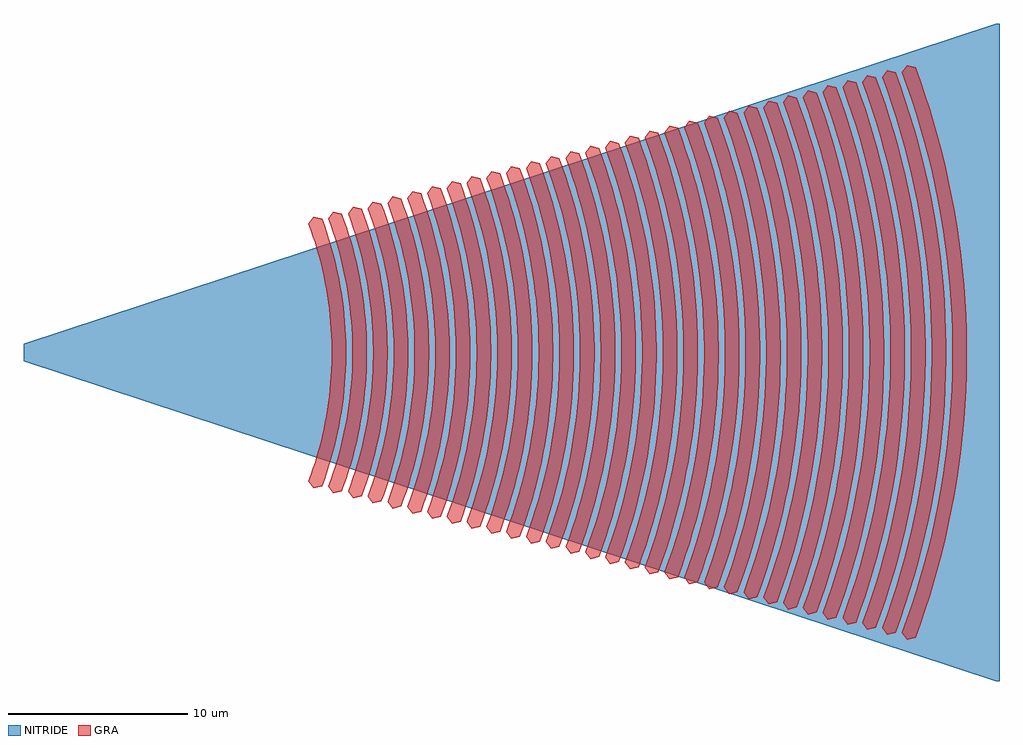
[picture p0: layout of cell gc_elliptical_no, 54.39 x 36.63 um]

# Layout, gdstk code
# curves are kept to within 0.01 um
import gdstk
lib = gdstk.Library(unit=1e-6, precision=1e-09)
def P(c, l, *ps):  # polygons
    for p in ps: c.add(gdstk.Polygon(p, *l))
GRA = (6, 0)
NITRIDE = (203, 0)

gc_elliptical_no = lib.new_cell('gc_elliptical_no')
P(gc_elliptical_no, GRA, [(28.566,-7.57),(28.277,-7.178),(28.528,-6.464),(28.854,-5.382),(29.039,-4.652),(29.195,-3.917),(29.38,-2.805),(29.469,-2.06),(29.531,-1.312),(29.572,-0.187),(29.565,0.563),(29.503,1.687),(29.428,2.433),(29.263,3.548),(29.039,4.652),(28.854,5.382),(28.528,6.464),(28.277,7.178),(28.566,7.57),(29.039,7.454),(29.417,6.345),(29.735,5.216),(29.991,4.071),(30.125,3.303),(30.232,2.529),(30.339,1.364),(30.382,0.195),(30.361,-0.975),(30.275,-2.142),(30.182,-2.917),(30.061,-3.688),(29.827,-4.836),(29.53,-5.97),(29.298,-6.718),(29.039,-7.454)],
  [(29.668,-7.852),(29.379,-7.46),(29.641,-6.717),(29.873,-5.97),(30.078,-5.214),(30.333,-4.071),(30.526,-2.916),(30.618,-2.141),(30.682,-1.364),(30.725,-0.195),(30.718,0.585),(30.653,1.753),(30.526,2.916),(30.404,3.687),(30.255,4.453),(29.979,5.593),(29.641,6.717),(29.379,7.46),(29.668,7.852),(30.141,7.736),(30.534,6.584),(30.864,5.412),(31.129,4.225),(31.328,3.026),(31.461,1.819),(31.513,1.012),(31.535,0.203),(31.513,-1.012),(31.424,-2.223),(31.269,-3.427),(31.129,-4.225),(30.96,-5.018),(30.651,-6.196),(30.409,-6.971),(30.141,-7.736)],
  [(30.772,-8.133),(30.482,-7.742),(30.877,-6.584),(31.104,-5.804),(31.303,-5.017),(31.545,-3.826),(31.723,-2.624),(31.804,-1.819),(31.855,-1.011),(31.878,-0.203),(31.871,0.607),(31.804,1.819),(31.723,2.624),(31.545,3.826),(31.303,5.017),(31.104,5.804),(30.877,6.584),(30.482,7.742),(30.772,8.133),(31.244,8.016),(31.651,6.824),(31.886,6.016),(32.091,5.201),(32.343,3.966),(32.527,2.72),(32.642,1.467),(32.688,0.209),(32.665,-1.049),(32.612,-1.885),(32.527,-2.72),(32.343,-3.966),(32.091,-5.201),(31.886,-6.016),(31.651,-6.824),(31.244,-8.016)],
  [(31.873,-8.415),(31.584,-8.023),(31.864,-7.224),(32.229,-6.015),(32.435,-5.199),(32.686,-3.965),(32.816,-3.136),(32.916,-2.302),(32.985,-1.466),(33.031,-0.209),(33.008,1.047),(32.954,1.885),(32.87,2.719),(32.686,3.965),(32.435,5.199),(32.229,6.015),(31.864,7.224),(31.584,8.023),(31.873,8.415),(32.346,8.299),(32.634,7.478),(32.893,6.647),(33.223,5.383),(33.484,4.105),(33.674,2.815),(33.793,1.518),(33.841,0.217),(33.818,-1.085),(33.722,-2.384),(33.618,-3.246),(33.484,-4.105),(33.223,-5.383),(32.893,-6.647),(32.634,-7.478),(32.346,-8.299)],
  [(32.975,-8.696),(32.686,-8.304),(32.977,-7.478),(33.353,-6.226),(33.567,-5.382),(33.827,-4.104),(33.962,-3.246),(34.065,-2.383),(34.16,-1.084),(34.184,-0.217),(34.176,0.651),(34.104,1.951),(33.962,3.246),(33.827,4.104),(33.567,5.382),(33.353,6.226),(32.977,7.478),(32.686,8.304),(32.975,8.696),(33.448,8.58),(33.884,7.303),(34.135,6.438),(34.355,5.566),(34.625,4.244),(34.821,2.911),(34.944,1.57),(34.994,0.225),(34.97,-1.122),(34.871,-2.465),(34.764,-3.356),(34.625,-4.244),(34.355,-5.566),(34.135,-6.438),(33.884,-7.303),(33.448,-8.58)],
  [(34.077,-8.977),(33.788,-8.585),(34.089,-7.731),(34.478,-6.437),(34.698,-5.564),(34.968,-4.243),(35.107,-3.356),(35.214,-2.465),(35.288,-1.569),(35.337,-0.224),(35.329,0.673),(35.254,2.017),(35.165,2.91),(34.968,4.243),(34.698,5.564),(34.478,6.437),(34.089,7.731),(33.788,8.585),(34.077,8.977),(34.55,8.861),(35,7.542),(35.26,6.649),(35.488,5.748),(35.766,4.383),(35.969,3.006),(36.096,1.621),(36.147,0.232),(36.122,-1.159),(36.02,-2.545),(35.842,-3.926),(35.682,-4.84),(35.488,-5.748),(35.26,-6.649),(35,-7.542),(34.55,-8.861)],
  [(35.18,-9.259),(34.891,-8.867),(35.2,-7.985),(35.477,-7.096),(35.721,-6.198),(36.025,-4.838),(36.253,-3.466),(36.363,-2.545),(36.439,-1.621),(36.49,-0.231),(36.464,1.159),(36.405,2.084),(36.253,3.466),(36.109,4.382),(35.83,5.748),(35.603,6.648),(35.343,7.542),(34.891,8.867),(35.18,9.259),(35.653,9.143),(36.117,7.782),(36.385,6.86),(36.62,5.93),(36.907,4.522),(37.116,3.102),(37.247,1.673),(37.3,0.239),(37.274,-1.195),(37.169,-2.627),(37.055,-3.576),(36.907,-4.522),(36.62,-5.93),(36.385,-6.86),(36.117,-7.782),(35.653,-9.143)],
  [(36.282,-9.54),(35.993,-9.148),(36.459,-7.781),(36.728,-6.859),(36.963,-5.929),(37.162,-4.993),(37.398,-3.576),(37.512,-2.625),(37.591,-1.672),(37.643,-0.239),(37.634,0.717),(37.555,2.15),(37.398,3.576),(37.249,4.521),(36.963,5.929),(36.728,6.859),(36.459,7.781),(35.993,9.148),(36.282,9.54),(36.755,9.424),(37.082,8.492),(37.376,7.547),(37.751,6.113),(38.047,4.661),(38.263,3.197),(38.399,1.724),(38.453,0.247),(38.426,-1.231),(38.318,-2.707),(38.128,-4.175),(37.859,-5.631),(37.635,-6.593),(37.376,-7.547),(37.082,-8.492),(36.755,-9.424)],
  [(37.384,-9.822),(37.095,-9.43),(37.576,-8.019),(37.853,-7.07),(38.202,-5.63),(38.39,-4.661),(38.544,-3.685),(38.66,-2.707),(38.742,-1.724),(38.796,-0.246),(38.787,0.739),(38.705,2.215),(38.607,3.197),(38.39,4.661),(38.202,5.63),(37.853,7.07),(37.576,8.019),(37.095,9.43),(37.384,9.822),(37.857,9.706),(38.194,8.746),(38.497,7.773),(38.884,6.296),(39.188,4.801),(39.411,3.293),(39.55,1.776),(39.606,0.254),(39.578,-1.269),(39.466,-2.787),(39.411,-3.293),(39.271,-4.3),(38.994,-5.798),(38.764,-6.79),(38.497,-7.773),(38.194,-8.746),(37.857,-9.706)],
  [(38.486,-10.103),(38.197,-9.711),(38.692,-8.26),(38.977,-7.281),(39.227,-6.294),(39.531,-4.8),(39.689,-3.796),(39.856,-2.282),(39.921,-1.269),(39.949,-0.253),(39.921,1.269),(39.856,2.282),(39.689,3.796),(39.531,4.8),(39.227,6.294),(38.977,7.281),(38.692,8.26),(38.197,9.711),(38.486,10.103),(38.959,9.987),(39.466,8.5),(39.759,7.493),(40.015,6.478),(40.329,4.94),(40.558,3.388),(40.664,2.348),(40.701,1.827),(40.731,1.305),(40.759,0.261),(40.731,-1.305),(40.664,-2.348),(40.615,-2.869),(40.415,-4.424),(40.129,-5.966),(39.892,-6.987),(39.617,-7.998),(39.306,-8.999),(38.959,-9.987)],
  [(39.589,-10.384),(39.3,-9.992),(39.48,-9.496),(39.809,-8.499),(40.102,-7.493),(40.358,-6.478),(40.672,-4.939),(40.901,-3.387),(41.006,-2.347),(41.073,-1.306),(41.102,-0.261),(41.073,1.306),(41.006,2.347),(40.901,3.387),(40.672,4.939),(40.358,6.478),(40.102,7.493),(39.809,8.499),(39.48,9.496),(39.3,9.992),(39.589,10.384),(40.062,10.268),(40.583,8.739),(40.884,7.705),(41.148,6.66),(41.373,5.608),(41.47,5.079),(41.705,3.483),(41.814,2.415),(41.853,1.879),(41.883,1.342),(41.912,0.269),(41.883,-1.342),(41.814,-2.415),(41.764,-2.95),(41.558,-4.549),(41.373,-5.608),(41.264,-6.135),(41.021,-7.184),(40.738,-8.223),(40.418,-9.253),(40.062,-10.268)],
  [(40.691,-10.666),(40.402,-10.274),(40.926,-8.739),(41.227,-7.704),(41.491,-6.659),(41.813,-5.078),(41.98,-4.015),(42.107,-2.949),(42.196,-1.878),(42.255,-0.268),(42.245,0.805),(42.196,1.878),(42.156,2.414),(42.049,3.483),(41.813,5.078),(41.491,6.659),(41.227,7.704),(40.926,8.739),(40.402,10.274),(40.691,10.666),(41.164,10.55),(41.7,8.979),(42.009,7.916),(42.279,6.843),(42.511,5.761),(42.611,5.218),(42.853,3.579),(42.964,2.48),(43.004,1.93),(43.035,1.38),(43.065,0.276),(43.035,-1.38),(42.964,-2.48),(42.913,-3.031),(42.853,-3.579),(42.701,-4.673),(42.511,-5.761),(42.4,-6.303),(42.149,-7.38),(41.859,-8.448),(41.529,-9.506),(41.164,-10.55)],
  [(41.793,-10.947),(41.504,-10.555),(41.873,-9.506),(42.202,-8.448),(42.352,-7.915),(42.623,-6.841),(42.954,-5.217),(43.125,-4.126),(43.256,-3.029),(43.347,-1.93),(43.408,-0.276),(43.397,0.828),(43.347,1.93),(43.256,3.029),(43.125,4.126),(43.045,4.672),(42.853,5.761),(42.623,6.841),(42.492,7.379),(42.352,7.915),(42.042,8.978),(41.694,10.031),(41.504,10.555),(41.793,10.947),(42.266,10.831),(42.643,9.76),(42.98,8.674),(43.278,7.577),(43.411,7.025),(43.649,5.915),(43.752,5.357),(43.845,4.798),(44,3.674),(44.114,2.546),(44.155,1.982),(44.187,1.415),(44.218,0.284),(44.218,-0.284),(44.187,-1.415),(44.114,-2.546),(44.062,-3.111),(44,-3.674),(43.845,-4.798),(43.649,-5.915),(43.535,-6.472),(43.278,-7.577),(42.98,-8.674),(42.643,-9.76),(42.266,-10.831)],
  [(42.895,-11.229),(42.606,-10.837),(42.986,-9.758),(43.323,-8.673),(43.477,-8.126),(43.755,-7.024),(44.095,-5.356),(44.271,-4.236),(44.343,-3.674),(44.457,-2.545),(44.529,-1.416),(44.561,-0.283),(44.55,0.85),(44.499,1.981),(44.405,3.11),(44.271,4.236),(44.095,5.356),(43.991,5.914),(43.755,7.024),(43.62,7.576),(43.477,8.126),(43.159,9.218),(42.986,9.758),(42.606,10.837),(42.895,11.229),(43.368,11.113),(43.754,10.014),(43.933,9.458),(44.259,8.338),(44.543,7.208),(44.787,6.068),(44.893,5.496),(45.073,4.346),(45.147,3.77),(45.265,2.613),(45.307,2.033),(45.339,1.452),(45.371,0.291),(45.371,-0.291),(45.339,-1.452),(45.265,-2.613),(45.211,-3.192),(45.073,-4.346),(44.988,-4.923),(44.893,-5.496),(44.67,-6.64),(44.406,-7.774),(44.101,-8.899),(43.754,-10.014),(43.368,-11.113)],
  [(43.998,-11.51),(43.709,-11.118),(44.097,-10.013),(44.444,-8.898),(44.601,-8.337),(44.749,-7.773),(45.013,-6.638),(45.236,-5.495),(45.416,-4.346),(45.554,-3.191),(45.65,-2.033),(45.703,-0.872),(45.714,-0.29),(45.703,0.872),(45.65,2.033),(45.554,3.191),(45.416,4.346),(45.236,5.495),(45.129,6.067),(45.013,6.638),(44.749,7.773),(44.444,8.898),(44.275,9.457),(43.909,10.566),(43.709,11.118),(43.998,11.51),(44.471,11.394),(44.867,10.267),(45.222,9.124),(45.535,7.971),(45.676,7.39),(45.925,6.223),(46.034,5.635),(46.218,4.456),(46.294,3.865),(46.415,2.679),(46.458,2.085),(46.491,1.49),(46.524,0.298),(46.524,-0.298),(46.491,-1.49),(46.415,-2.679),(46.36,-3.273),(46.218,-4.456),(46.131,-5.047),(46.034,-5.635),(45.805,-6.808),(45.535,-7.971),(45.222,-9.124),(44.867,-10.267),(44.471,-11.394)],
  [(45.1,-11.791),(44.811,-11.399),(45.016,-10.833),(45.392,-9.696),(45.726,-8.548),(46.019,-7.389),(46.149,-6.807),(46.376,-5.635),(46.562,-4.455),(46.703,-3.272),(46.801,-2.084),(46.856,-0.894),(46.867,-0.298),(46.856,0.894),(46.801,2.084),(46.703,3.272),(46.562,4.455),(46.376,5.635),(46.267,6.222),(46.149,6.807),(45.877,7.97),(45.726,8.548),(45.392,9.696),(45.016,10.833),(44.811,11.399),(45.1,11.791),(45.573,11.675),(45.979,10.52),(46.166,9.936),(46.508,8.76),(46.807,7.573),(46.941,6.975),(47.174,5.775),(47.364,4.567),(47.442,3.961),(47.565,2.745),(47.609,2.136),(47.666,0.916),(47.677,0.306),(47.666,-0.916),(47.643,-1.527),(47.565,-2.745),(47.509,-3.354),(47.364,-4.567),(47.274,-5.172),(47.174,-5.775),(46.941,-6.975),(46.663,-8.168),(46.342,-9.35),(45.979,-10.52),(45.573,-11.675)],
  [(46.202,-12.073),(45.913,-11.682),(46.322,-10.52),(46.685,-9.349),(46.851,-8.759),(47.151,-7.571),(47.284,-6.974),(47.406,-6.375),(47.618,-5.17),(47.785,-3.96),(47.907,-2.745),(47.986,-1.526),(48.02,-0.305),(48.008,0.916),(47.953,2.135),(47.852,3.353),(47.707,4.566),(47.618,5.17),(47.406,6.375),(47.151,7.571),(47.006,8.166),(46.851,8.759),(46.508,9.936),(46.322,10.52),(45.913,11.682),(46.202,12.073),(46.675,11.956),(47.09,10.774),(47.463,9.575),(47.792,8.364),(48.076,7.144),(48.202,6.529),(48.418,5.296),(48.589,4.056),(48.658,3.435),(48.761,2.187),(48.796,1.562),(48.83,0.313),(48.83,-0.313),(48.796,-1.562),(48.761,-2.187),(48.658,-3.435),(48.589,-4.056),(48.418,-5.296),(48.202,-6.529),(48.076,-7.144),(47.792,-8.364),(47.463,-9.575),(47.09,-10.774),(46.675,-11.956)],
  [(47.304,-12.354),(47.015,-11.962),(47.434,-10.773),(47.625,-10.175),(47.806,-9.574),(48.135,-8.363),(48.419,-7.142),(48.544,-6.529),(48.761,-5.295),(48.932,-4.056),(49.058,-2.811),(49.138,-1.562),(49.173,-0.312),(49.161,0.938),(49.104,2.187),(49.001,3.433),(48.932,4.056),(48.761,5.295),(48.544,6.529),(48.419,7.142),(48.135,8.363),(47.976,8.97),(47.625,10.175),(47.434,10.773),(47.015,11.962),(47.304,12.354),(47.777,12.238),(48.202,11.027),(48.399,10.415),(48.758,9.182),(49.072,7.938),(49.34,6.683),(49.456,6.053),(49.561,5.421),(49.736,4.152),(49.866,2.877),(49.912,2.239),(49.948,1.6),(49.983,0.32),(49.983,-0.32),(49.948,-1.6),(49.866,-2.877),(49.807,-3.515),(49.736,-4.152),(49.561,-5.421),(49.34,-6.683),(49.211,-7.312),(48.921,-8.561),(48.584,-9.8),(48.202,-11.027),(47.777,-12.238)],
  [(48.406,-12.636),(48.117,-12.244),(48.545,-11.027),(48.927,-9.799),(49.101,-9.181),(49.415,-7.936),(49.554,-7.31),(49.799,-6.052),(49.904,-5.42),(50.08,-4.151),(50.208,-2.877),(50.29,-1.599),(50.326,-0.32),(50.314,0.96),(50.255,2.238),(50.15,3.514),(50.08,4.151),(49.904,5.42),(49.799,6.052),(49.554,7.31),(49.415,7.936),(49.101,9.181),(48.927,9.799),(48.545,11.027),(48.117,12.244),(48.406,12.636),(48.879,12.52),(49.315,11.281),(49.705,10.025),(50.049,8.758),(50.346,7.48),(50.478,6.836),(50.704,5.546),(50.8,4.897),(50.956,3.596),(51.016,2.943),(51.1,1.637),(51.136,0.328),(51.136,-0.328),(51.1,-1.637),(51.016,-2.943),(50.956,-3.596),(50.884,-4.247),(50.704,-5.546),(50.478,-6.836),(50.346,-7.48),(50.049,-8.758),(49.705,-10.025),(49.315,-11.281),(48.879,-12.52)],
  [(49.509,-12.917),(49.22,-12.525),(49.445,-11.903),(49.858,-10.654),(50.048,-10.025),(50.392,-8.757),(50.69,-7.478),(50.94,-6.191),(51.048,-5.544),(51.227,-4.246),(51.358,-2.943),(51.442,-1.637),(51.478,-0.327),(51.466,0.982),(51.407,2.29),(51.299,3.595),(51.227,4.246),(51.048,5.544),(50.94,6.191),(50.69,7.478),(50.392,8.757),(50.048,10.025),(49.858,10.654),(49.445,11.903),(49.22,12.525),(49.509,12.917),(49.982,12.801),(50.427,11.534),(50.826,10.251),(51.178,8.955),(51.482,7.648),(51.738,6.331),(51.848,5.67),(52.031,4.342),(52.105,3.677),(52.215,2.342),(52.252,1.673),(52.288,0.335),(52.288,-0.335),(52.252,-1.673),(52.215,-2.342),(52.105,-3.677),(52.031,-4.342),(51.848,-5.67),(51.738,-6.331),(51.482,-7.648),(51.178,-8.955),(50.826,-10.251),(50.427,-11.534),(49.982,-12.801)],
  [(50.611,-13.198),(50.322,-12.807),(50.77,-11.533),(50.975,-10.894),(51.35,-9.603),(51.52,-8.954),(51.825,-7.646),(52.081,-6.33),(52.191,-5.669),(52.374,-4.342),(52.509,-3.009),(52.594,-1.672),(52.631,-0.334),(52.619,1.004),(52.558,2.341),(52.448,3.676),(52.289,5.007),(52.191,5.669),(52.081,6.33),(51.825,7.646),(51.52,8.954),(51.35,9.603),(50.975,10.894),(50.77,11.533),(50.322,12.807),(50.611,13.198),(51.084,13.081),(51.538,11.789),(51.946,10.476),(52.306,9.152),(52.617,7.816),(52.879,6.47),(52.991,5.795),(53.091,5.117),(53.254,3.758),(53.317,3.075),(53.404,1.71),(53.441,0.342),(53.429,-1.026),(53.404,-1.71),(53.317,-3.075),(53.254,-3.758),(53.091,-5.117),(52.991,-5.795),(52.879,-6.47),(52.617,-7.816),(52.306,-9.152),(51.946,-10.476),(51.538,-11.789),(51.084,-13.081)],
  [(51.713,-13.48),(51.424,-13.088),(51.66,-12.438),(52.091,-11.133),(52.289,-10.475),(52.649,-9.15),(52.96,-7.815),(53.222,-6.469),(53.334,-5.793),(53.522,-4.437),(53.659,-3.076),(53.746,-1.709),(53.784,-0.342),(53.772,1.026),(53.709,2.393),(53.659,3.076),(53.522,4.437),(53.334,5.793),(53.222,6.469),(52.96,7.815),(52.649,9.15),(52.475,9.814),(52.091,11.133),(51.66,12.438),(51.424,13.088),(51.713,13.48),(52.186,13.364),(52.651,12.041),(53.067,10.701),(53.435,9.348),(53.752,7.983),(54.02,6.609),(54.134,5.919),(54.326,4.533),(54.403,3.839),(54.467,3.142),(54.556,1.747),(54.594,0.35),(54.582,-1.048),(54.556,-1.747),(54.467,-3.142),(54.403,-3.839),(54.326,-4.533),(54.134,-5.919),(54.02,-6.609),(53.752,-7.983),(53.435,-9.348),(53.067,-10.701),(52.651,-12.041),(52.186,-13.364)],
  [(52.815,-13.761),(52.526,-13.369),(52.994,-12.041),(53.41,-10.701),(53.6,-10.025),(53.943,-8.666),(54.095,-7.982),(54.235,-7.297),(54.477,-5.918),(54.669,-4.533),(54.809,-3.141),(54.899,-1.747),(54.937,-0.349),(54.924,1.048),(54.861,2.444),(54.809,3.141),(54.669,4.533),(54.477,5.918),(54.235,7.297),(54.095,7.982),(53.943,8.666),(53.6,10.025),(53.41,10.701),(52.994,12.041),(52.526,13.369),(52.815,13.761),(53.288,13.645),(53.762,12.295),(54.188,10.927),(54.563,9.545),(54.887,8.152),(55.16,6.748),(55.382,5.338),(55.473,4.629),(55.617,3.209),(55.669,2.496),(55.709,1.783),(55.747,0.357),(55.747,-0.357),(55.709,-1.783),(55.617,-3.209),(55.551,-3.919),(55.382,-5.338),(55.277,-6.044),(55.031,-7.451),(54.887,-8.152),(54.563,-9.545),(54.188,-10.927),(53.762,-12.295),(53.288,-13.645)],
  [(53.918,-14.043),(53.629,-13.652),(53.874,-12.973),(54.324,-11.612),(54.725,-10.236),(54.906,-9.544),(55.23,-8.15),(55.373,-7.451),(55.621,-6.043),(55.816,-4.628),(55.959,-3.208),(56.051,-1.783),(56.09,-0.356),(56.077,1.07),(56.012,2.496),(55.894,3.918),(55.816,4.628),(55.621,6.043),(55.373,7.451),(55.23,8.15),(54.906,9.544),(54.725,10.236),(54.324,11.612),(53.874,12.973),(53.629,13.652),(53.918,14.043),(54.391,13.926),(54.875,12.548),(55.309,11.152),(55.692,9.742),(56.022,8.32),(56.169,7.605),(56.421,6.169),(56.527,5.447),(56.7,4),(56.767,3.274),(56.861,1.821),(56.9,0.364),(56.9,-0.364),(56.861,-1.821),(56.767,-3.274),(56.7,-4),(56.62,-4.724),(56.421,-6.169),(56.169,-7.605),(56.022,-8.32),(55.692,-9.742),(55.309,-11.152),(54.875,-12.548),(54.391,-13.926)],
  [(55.02,-14.324),(54.731,-13.933),(55.218,-12.548),(55.652,-11.151),(55.85,-10.448),(56.207,-9.031),(56.366,-8.318),(56.644,-6.887),(56.764,-6.167),(56.964,-4.724),(57.11,-3.274),(57.203,-1.82),(57.243,-0.364),(57.23,1.092),(57.203,1.82),(57.11,3.274),(56.964,4.724),(56.764,6.167),(56.644,6.887),(56.366,8.318),(56.207,9.031),(55.85,10.448),(55.652,11.151),(55.218,12.548),(54.731,13.933),(55.02,14.324),(55.493,14.207),(55.986,12.802),(56.43,11.377),(56.82,9.939),(57.158,8.488),(57.442,7.027),(57.564,6.293),(57.768,4.82),(57.918,3.34),(57.971,2.599),(58.013,1.858),(58.053,0.372),(58.04,-1.114),(58.013,-1.858),(57.918,-3.34),(57.849,-4.081),(57.768,-4.82),(57.564,-6.293),(57.307,-7.758),(57.158,-8.488),(56.82,-9.939),(56.43,-11.377),(55.986,-12.802),(55.493,-14.207)],
  [(56.122,-14.605),(55.833,-14.213),(56.089,-13.508),(56.557,-12.091),(56.974,-10.659),(57.163,-9.938),(57.501,-8.486),(57.785,-7.026),(57.907,-6.292),(58.111,-4.819),(58.26,-3.34),(58.355,-1.856),(58.396,-0.371),(58.383,1.114),(58.315,2.599),(58.26,3.34),(58.111,4.819),(57.907,6.292),(57.785,7.026),(57.501,8.486),(57.163,9.938),(56.974,10.659),(56.557,12.091),(56.089,13.508),(55.833,14.213),(56.122,14.605),(56.595,14.489),(57.099,13.055),(57.55,11.602),(57.949,10.136),(58.293,8.656),(58.583,7.166),(58.818,5.668),(58.915,4.915),(59.068,3.406),(59.123,2.651),(59.193,1.136),(59.206,0.379),(59.193,-1.136),(59.165,-1.894),(59.068,-3.406),(58.998,-4.162),(58.818,-5.668),(58.707,-6.418),(58.583,-7.166),(58.293,-8.656),(57.949,-10.136),(57.55,-11.602),(57.099,-13.055),(56.595,-14.489)],
  [(57.224,-14.887),(56.935,-14.495),(57.442,-13.055),(57.893,-11.602),(58.099,-10.87),(58.471,-9.396),(58.636,-8.655),(58.926,-7.165),(59.051,-6.416),(59.258,-4.914),(59.41,-3.406),(59.507,-1.893),(59.549,-0.379),(59.535,1.136),(59.466,2.65),(59.341,4.16),(59.258,4.914),(59.051,6.416),(58.926,7.165),(58.636,8.655),(58.471,9.396),(58.099,10.87),(57.893,11.602),(57.442,13.055),(56.935,14.495),(57.224,14.887),(57.697,14.771),(58.21,13.309),(58.671,11.828),(59.077,10.332),(59.428,8.823),(59.724,7.305),(59.851,6.542),(60.062,5.01),(60.147,4.242),(60.218,3.472),(60.317,1.931),(60.359,0.387),(60.359,-0.387),(60.317,-1.931),(60.218,-3.472),(60.147,-4.242),(60.062,-5.01),(59.851,-6.542),(59.724,-7.305),(59.428,-8.823),(59.077,-10.332),(58.671,-11.828),(58.21,-13.309),(57.697,-14.771)],
  [(58.327,-15.168),(58.038,-14.777),(58.303,-14.043),(58.79,-12.57),(59.224,-11.081),(59.603,-9.578),(59.771,-8.823),(59.926,-8.065),(60.194,-6.541),(60.405,-5.01),(60.56,-3.471),(60.659,-1.931),(60.702,-0.386),(60.688,1.159),(60.618,2.702),(60.49,4.241),(60.307,5.777),(60.194,6.541),(59.926,8.065),(59.771,8.823),(59.603,9.578),(59.224,11.081),(58.79,12.57),(58.303,14.043),(58.038,14.777),(58.327,15.168),(58.8,15.051),(59.323,13.562),(59.792,12.053),(60.206,10.529),(60.563,8.993),(60.722,8.219),(60.994,6.667),(61.109,5.887),(61.296,4.323),(61.426,2.754),(61.498,1.181),(61.512,0.394),(61.498,-1.181),(61.426,-2.754),(61.368,-3.539),(61.296,-4.323),(61.109,-5.887),(60.994,-6.667),(60.722,-8.219),(60.391,-9.762),(60.006,-11.293),(59.564,-12.81),(59.067,-14.311),(58.8,-15.051)],
  [(59.429,-15.45),(59.14,-15.059),(59.666,-13.562),(59.907,-12.809),(60.349,-11.292),(60.549,-10.528),(60.907,-8.991),(61.208,-7.443),(61.337,-6.666),(61.553,-5.105),(61.711,-3.539),(61.812,-1.967),(61.855,-0.393),(61.841,1.181),(61.769,2.753),(61.711,3.539),(61.553,5.105),(61.337,6.666),(61.208,7.443),(60.907,8.991),(60.549,10.528),(60.349,11.292),(59.907,12.809),(59.666,13.562),(59.14,15.059),(59.429,15.45),(59.902,15.333),(60.434,13.816),(60.913,12.278),(61.335,10.726),(61.699,9.161),(61.86,8.373),(62.137,6.792),(62.357,5.201),(62.445,4.404),(62.519,3.605),(62.622,2.005),(62.665,0.401),(62.651,-1.203),(62.622,-2.005),(62.519,-3.605),(62.357,-5.201),(62.254,-5.997),(62.006,-7.583),(61.86,-8.373),(61.523,-9.945),(61.131,-11.504),(60.681,-13.049),(60.174,-14.578),(59.902,-15.333)],
  [(60.531,-15.731),(60.242,-15.339),(60.518,-14.578),(61.024,-13.048),(61.474,-11.503),(61.867,-9.943),(62.042,-9.159),(62.202,-8.372),(62.48,-6.79),(62.7,-5.201),(62.861,-3.605),(62.964,-2.003),(63.008,-0.401),(62.993,1.203),(62.92,2.805),(62.788,4.403),(62.7,5.201),(62.48,6.79),(62.202,8.372),(62.042,9.159),(61.867,9.943),(61.474,11.503),(61.024,13.048),(60.518,14.578),(60.242,15.339),(60.531,15.731),(61.004,15.615),(61.282,14.846),(61.798,13.288),(62.256,11.715),(62.463,10.923),(62.834,9.329),(62.998,8.526),(63.28,6.916),(63.4,6.108),(63.594,4.485),(63.669,3.671),(63.774,2.041),(63.818,0.409),(63.818,-0.409),(63.774,-2.041),(63.669,-3.671),(63.594,-4.485),(63.4,-6.108),(63.28,-6.916),(62.998,-8.526),(62.655,-10.127),(62.256,-11.715),(61.798,-13.288),(61.282,-14.846),(61.004,-15.615)],
  [(61.633,-16.012),(61.344,-15.62),(61.625,-14.845),(62.14,-13.288),(62.377,-12.503),(62.806,-10.921),(63.177,-9.327),(63.34,-8.526),(63.624,-6.915),(63.847,-5.296),(64.011,-3.671),(64.116,-2.041),(64.161,-0.408),(64.146,1.225),(64.072,2.856),(63.937,4.484),(63.743,6.107),(63.624,6.915),(63.489,7.722),(63.177,9.327),(62.806,10.921),(62.377,12.503),(62.14,13.288),(61.625,14.845),(61.344,15.62),(61.633,16.012),(62.106,15.896),(62.389,15.113),(62.659,14.323),(63.155,12.729),(63.592,11.119),(63.969,9.497),(64.136,8.68),(64.424,7.041),(64.545,6.217),(64.743,4.566),(64.88,2.908),(64.926,2.077),(64.971,0.416),(64.971,-0.416),(64.926,-2.077),(64.88,-2.908),(64.743,-4.566),(64.545,-6.217),(64.424,-7.041),(64.136,-8.68),(63.969,-9.497),(63.592,-11.119),(63.155,-12.729),(62.659,-14.323),(62.106,-15.896)])
P(gc_elliptical_no, NITRIDE, [(12.396,-0.475),(12.396,0.475),(66.587,18.317),(66.787,18.317),(66.787,-18.317),(66.587,-18.317)])

lib.write_gds('gc_elliptical_no.gds')
